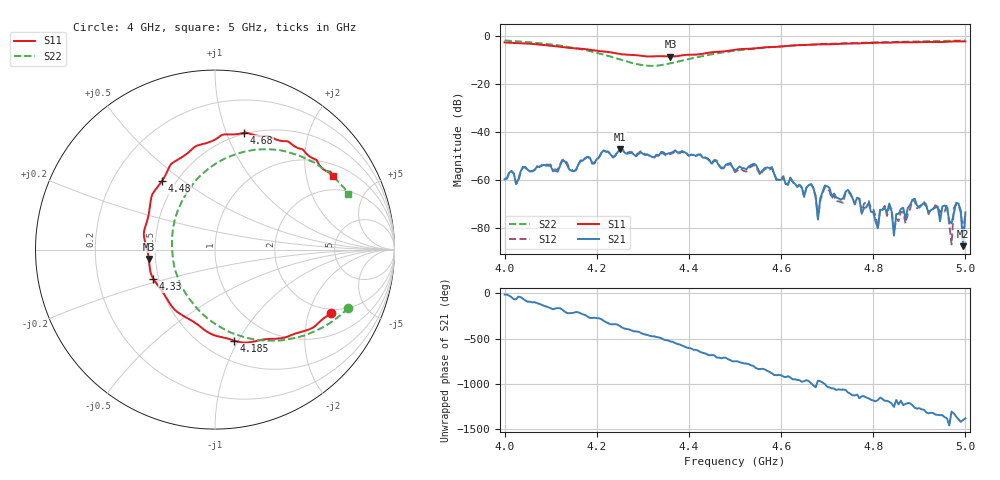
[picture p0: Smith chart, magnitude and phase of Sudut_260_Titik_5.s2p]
# Hz S RI R 50
! CMT, C1220, 16058040, 17.2.0/1
! Date: 15/08/2018 12:22:52
! Data: Format (Calibration Info)
! Freq  S11: Re/Im (F2)  S21: Re/Im (F2)  S12: Re/Im (F2)  S22: Re/Im (F2)
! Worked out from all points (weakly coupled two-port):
!   201 points, 4 GHz to 5 GHz, reference 50 ohm
!   highest |S21| = -47.38 dB at 4.25 GHz (marker M1); lowest = -87.8 dB at 4.995 GHz (marker M2)
!   lowest |S11| = -8.6 dB at 4.36 GHz (marker M3), VSWR 2.19, Z = 22.9 - j2.77 ohm
!   |S11| at or under -10 dB: nowhere
!   |S22| runs from -12.5 to -1.8 dB; largest |S21 - S12| = 0.00027
!   S11 on the Smith chart (normalised r, x): 4 GHz: 1.83, -2.85; 4.185 GHz: 0.69, -0.96; 4.33 GHz: 0.47, -0.18; 4.48 GHz: 0.42, +0.42; 4.68 GHz: 0.49, +1.16; 5 GHz: 1.40, +2.86
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4e9  0.6488 -0.3529  0.000989 -0.000228  0.00103 -0.000267  0.742 -0.3248
4.17e9  0.155 -0.5177  -0.00156 0.00196  -0.00146 0.00197  0.1758 -0.4909
4.185e9  0.108 -0.5074  7.08e-05 0.00287  0.00013 0.0028  0.1143 -0.4712
4.25e9  -0.1142 -0.4055  0.00428 4.77e-06  0.00438 0.00011  -0.1217 -0.3016
4.33e9  -0.3435 -0.1624  -0.00179 -0.00281  -0.00194 -0.00262  -0.2397 0.0233
4.335e9  -0.3515 -0.1472  -0.00192 -0.00258  -0.00192 -0.00234  -0.2396 0.0441
4.36e9  -0.3691 -0.0519  -0.00358 -0.000504  -0.00341 -0.000515  -0.2292 0.1426
4.48e9  -0.296 0.3815  0.00204 0.000309  0.00196 0.000107  -0.0169 0.4647
4.5e9  -0.2597 0.4485  0.00136 -0.000789  0.0012 -0.000786  0.0289 0.4931
4.67e9  0.1451 0.6473  0.000287 0.000597  0.000376 0.000571  0.3751 0.5508
4.68e9  0.1636 0.6511  -6.54e-05 0.000132  -8.77e-05 0.000136  0.3929 0.5464
4.695e9  0.1896 0.647  0.000155 0.000743  0.000161 0.000684  0.4167 0.5401
4.79e9  0.3936 0.6037  5.14e-05 -0.000325  0.000112 -0.000344  0.5487 0.4869
4.81e9  0.4159 0.5961  -1.45e-05 -9.6e-05  -2.64e-05 -9.48e-05  0.5702 0.4728
4.835e9  0.4582 0.5674  -0.000149 -0.000281  -0.000118 -0.000243  0.599 0.4533
4.845e9  0.4754 0.5626  -6.78e-05 -6.76e-06  -8.19e-05 1.55e-05  0.61 0.4449
4.885e9  0.5208 0.5236  -0.000343 -0.000161  -0.000326 -0.000199  0.6497 0.4135
4.96e9  0.623 0.4373  0.000134 0.00023  0.000167 0.000252  0.714 0.3498
4.97e9  0.6363 0.4352  -8.56e-05 8.74e-05  -3.38e-05 2.91e-05  0.7211 0.3418
4.98e9  0.6432 0.4337  6.29e-05 0.000325  4.89e-05 0.000301  0.7281 0.3319
4.995e9  0.6507 0.4184  3.07e-05 2.71e-05  7.72e-05 4.15e-05  0.7398 0.3167
5e9  0.655 0.4105  0.000107 0.000177  6.85e-05 0.000175  0.7437 0.3125
